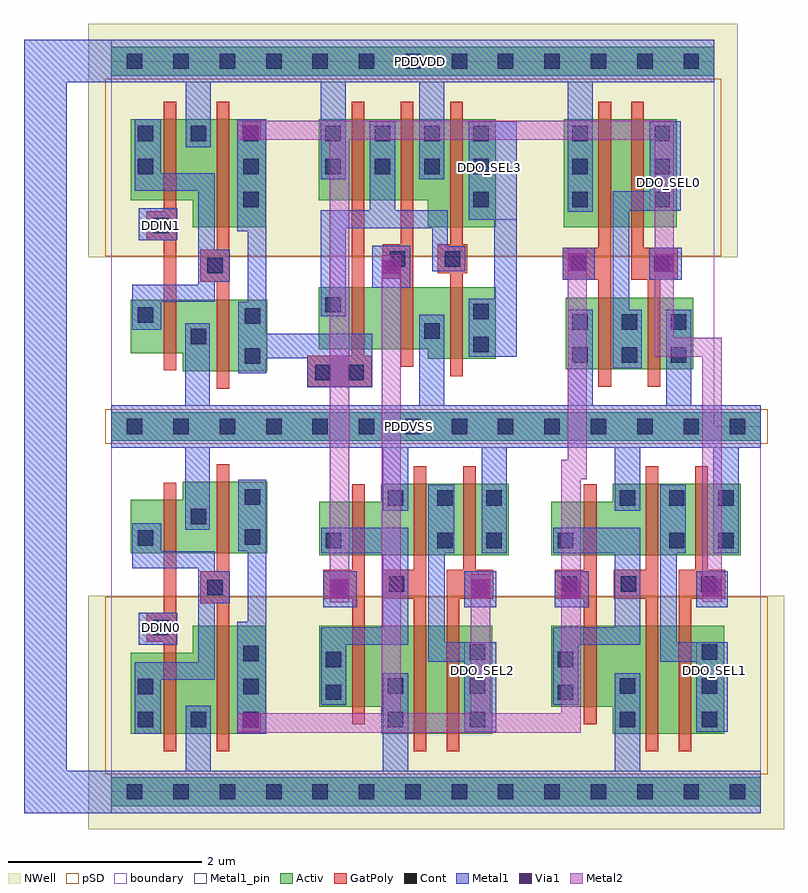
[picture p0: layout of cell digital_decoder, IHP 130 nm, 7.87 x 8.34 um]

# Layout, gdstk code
from math import pi, radians
import gdstk
lib = gdstk.Library(unit=1e-6, precision=5e-09)
def R(c, l, rs):  # rectangles x0, y0, x1, y1
    for r in rs: c.add(gdstk.rectangle(r[:2], r[2:], *l))
def A(c, l, x, y, w, h, nx, ny, dx, dy):  # array of equal rectangles
    R(c, l, [(x+i*dx, y+j*dy, x+i*dx+w, y+j*dy+h) for i in range(nx) for j in range(ny)])
def P(c, l, *ps):  # polygons
    for p in ps: c.add(gdstk.Polygon(p, *l))
Activ = (1, 0)
GatPoly = (5, 0)
Cont = (6, 0)
Metal1 = (8, 0)
Metal1_pin = (8, 2)
Metal2 = (10, 0)
pSD = (14, 0)
Via1 = (19, 0)
NWell = (31, 0)
boundary = (189, 4)

via_stack_1 = lib.new_cell('via_stack$1')
R(via_stack_1, Metal1, [(-0.145,-0.105,0.145,0.105)])
R(via_stack_1, Metal2, [(-0.145,-0.1,0.145,0.1)])
R(via_stack_1, Via1, [(-0.095,-0.095,0.095,0.095)])

digital_decoder = lib.new_cell('digital_decoder')
R(digital_decoder, Activ, [(4.37,3.48,6.29,3.78), (6.29,3.48,8.69,3.78), (8.69,3.48,11.09,3.78), (4.37,7.26,6.29,7.56), (4.37,7.26,6.29,7.56), (6.29,7.26,8.69,7.56), (6.29,7.26,8.69,7.56), (8.69,7.26,10.61,7.56), (8.69,7.26,11.09,7.56), (9.07,8,10.39,8.74), (9.05,9.47,10.22,10.59), (4.37,11.04,6.29,11.34), (6.29,11.04,8.69,11.34), (8.69,11.04,10.61,11.34)])
P(digital_decoder, Activ, [(4.57,6.1),(4.57,6.65),(5.11,6.65),(5.11,6.84),(5.98,6.84),(5.98,6.1)],
  [(4.57,4.23),(4.57,5.07),(5.21,5.07),(5.21,5.35),(5.965,5.35),(5.965,4.23)],
  [(6.52,6.08),(6.52,6.63),(7.16,6.63),(7.16,6.82),(8.48,6.82),(8.48,6.08)],
  [(7.16,4.23),(7.16,4.51),(6.52,4.51),(6.52,5.35),(8.31,5.35),(8.31,4.23)],
  [(8.92,6.08),(8.92,6.63),(9.56,6.63),(9.56,6.82),(10.88,6.82),(10.88,6.08)],
  [(9.56,4.23),(9.56,4.51),(8.92,4.51),(8.92,5.35),(10.71,5.35),(10.71,4.23)],
  [(7.645,8.11),(7.645,8.21),(6.515,8.21),(6.515,8.85),(8.345,8.85),(8.345,8.11)],
  [(7.645,9.47),(7.645,9.75),(6.515,9.75),(6.515,10.59),(8.345,10.59),(8.345,9.47)],
  [(5.11,7.98),(5.11,8.17),(4.57,8.17),(4.57,8.72),(5.98,8.72),(5.98,7.98)],
  [(5.21,9.47),(5.21,9.75),(4.57,9.75),(4.57,10.59),(5.965,10.59),(5.965,9.47)])
P(digital_decoder, GatPoly, [(5.46,4.05),(5.46,5.58),(5.29,5.58),(5.29,5.91),(5.46,5.91),(5.46,7.02),(5.59,7.02),(5.59,4.05)],
  [(4.91,4.05),(4.91,5.18),(4.735,5.18),(4.735,5.48),(4.91,5.48),(4.91,6.83),(5.04,6.83),(5.04,4.05)],
  [(6.86,4.33),(6.86,5.63),(6.56,5.63),(6.56,5.93),(6.86,5.93),(6.86,6.81),(6.99,6.81),(6.99,4.33)],
  [(7.5,4.05),(7.5,5.63),(7.17,5.63),(7.17,5.93),(7.5,5.93),(7.5,7),(7.63,7),(7.63,4.05)],
  [(7.84,4.05),(7.84,5.93),(8.01,5.93),(8.01,7),(8.14,7),(8.14,5.93),(8.32,5.93),(8.32,5.63),(7.97,5.63),(7.97,4.05)],
  [(9.26,4.33),(9.26,5.63),(8.96,5.63),(8.96,5.93),(9.26,5.93),(9.26,6.81),(9.39,6.81),(9.39,4.33)],
  [(9.9,4.05),(9.9,5.63),(9.57,5.63),(9.57,5.93),(9.9,5.93),(9.9,7),(10.03,7),(10.03,4.05)],
  [(10.24,4.05),(10.24,5.93),(10.41,5.93),(10.41,7),(10.54,7),(10.54,5.93),(10.72,5.93),(10.72,5.63),(10.37,5.63),(10.37,4.05)],
  [(9.92,7.82),(9.92,8.93),(9.75,8.93),(9.75,10.77),(9.88,10.77),(9.88,9.26),(10.23,9.26),(10.23,8.93),(10.05,8.93),(10.05,7.82)],
  [(9.41,7.82),(9.41,8.93),(9.04,8.93),(9.04,9.26),(9.41,9.26),(9.41,10.77),(9.54,10.77),(9.54,7.82)],
  [(7.875,7.93),(7.875,8.995),(7.745,8.995),(7.745,9.295),(7.875,9.295),(7.875,10.77),(8.005,10.77),(8.005,9.295),(8.05,9.295),(8.05,8.995),(8.005,8.995),(8.005,7.93)],
  [(6.395,7.82),(6.395,8.14),(6.855,8.14),(6.855,10.77),(6.985,10.77),(6.985,8.14),(7.065,8.14),(7.065,7.82)],
  [(7.365,8.03),(7.365,8.995),(7.18,8.995),(7.18,9.295),(7.365,9.295),(7.365,10.77),(7.495,10.77),(7.495,8.03)],
  [(5.46,7.8),(5.46,8.91),(5.29,8.91),(5.29,9.24),(5.46,9.24),(5.46,10.77),(5.59,10.77),(5.59,7.8)],
  [(4.91,7.99),(4.91,9.34),(4.735,9.34),(4.735,9.64),(4.91,9.64),(4.91,10.77),(5.04,10.77),(5.04,7.99)])
A(digital_decoder, Cont, 4.53, 3.55, 0.16, 0.16, 14, 1, 0.48, 0)
A(digital_decoder, Cont, 5.735, 4.3, 0.16, 0.16, 1, 3, 0, 0.34)
A(digital_decoder, Cont, 7.23, 6.59, 0.16, 0.16, 3, 1, 0.51, 0)
A(digital_decoder, Cont, 9.63, 6.59, 0.16, 0.16, 3, 1, 0.51, 0)
A(digital_decoder, Cont, 9.14, 8.07, 0.16, 0.16, 3, 2, 0.51, 0.34)
A(digital_decoder, Cont, 5.735, 9.68, 0.16, 0.16, 1, 3, 0, 0.34)
A(digital_decoder, Cont, 9.14, 9.68, 0.16, 0.16, 1, 3, 0, 0.34)
A(digital_decoder, Cont, 9.99, 9.68, 0.16, 0.16, 1, 3, 0, 0.34)
A(digital_decoder, Cont, 6.585, 10.02, 0.16, 0.16, 4, 2, 0.51, 0.34)
A(digital_decoder, Cont, 4.53, 11.11, 0.16, 0.16, 5, 1, 0.48, 0)
R(digital_decoder, Cont, [(4.64,4.3,4.8,4.46), (5.19,4.3,5.35,4.46), (7.23,4.3,7.39,4.46), (8.08,4.3,8.24,4.46), (9.63,4.3,9.79,4.46), (10.48,4.3,10.64,4.46), (6.59,4.58,6.75,4.74), (8.99,4.58,9.15,4.74), (4.64,4.64,4.8,4.8), (7.23,4.645,7.39,4.805), (8.08,4.645,8.24,4.805), (9.63,4.645,9.79,4.805), (10.48,4.645,10.64,4.805), (6.59,4.92,6.75,5.08), (8.99,4.92,9.15,5.08), (8.08,4.995,8.24,5.155), (10.48,4.995,10.64,5.155), (4.805,5.25,4.965,5.41), (5.36,5.665,5.52,5.825), (7.24,5.7,7.4,5.86), (9.03,5.7,9.19,5.86), (9.64,5.7,9.8,5.86), (10.475,5.7,10.635,5.86), (6.59,6.15,6.75,6.31), (7.74,6.15,7.9,6.31), (8.25,6.15,8.41,6.31), (8.99,6.15,9.15,6.31), (10.14,6.15,10.3,6.31), (10.65,6.15,10.81,6.31), (4.64,6.175,4.8,6.335), (5.75,6.185,5.91,6.345), (5.19,6.4,5.35,6.56), (5.75,6.6,5.91,6.76), (4.53,7.33,4.69,7.49), (4.53,7.33,4.69,7.49), (5.01,7.33,5.17,7.49), (5.01,7.33,5.17,7.49), (5.49,7.33,5.65,7.49), (5.49,7.33,5.65,7.49), (5.97,7.33,6.13,7.49), (5.97,7.33,6.13,7.49), (6.45,7.33,6.61,7.49), (6.45,7.33,6.61,7.49), (6.93,7.33,7.09,7.49), (6.93,7.33,7.09,7.49), (7.41,7.33,7.57,7.49), (7.41,7.33,7.57,7.49), (7.89,7.33,8.05,7.49), (7.89,7.33,8.05,7.49), (8.37,7.33,8.53,7.49), (8.37,7.33,8.53,7.49), (8.85,7.33,9.01,7.49), (8.85,7.33,9.01,7.49), (8.85,7.33,9.01,7.49), (9.33,7.33,9.49,7.49), (9.33,7.33,9.49,7.49), (9.33,7.33,9.49,7.49), (9.81,7.33,9.97,7.49), (9.81,7.33,9.97,7.49), (9.81,7.33,9.97,7.49), (10.29,7.33,10.45,7.49), (10.29,7.33,10.45,7.49), (10.29,7.33,10.45,7.49), (10.77,7.33,10.93,7.49), (6.48,7.89,6.64,8.05), (6.82,7.89,6.98,8.05), (5.75,8.06,5.91,8.22), (8.115,8.18,8.275,8.34), (5.19,8.26,5.35,8.42), (7.605,8.32,7.765,8.48), (5.75,8.475,5.91,8.635), (4.64,8.485,4.8,8.645), (8.115,8.52,8.275,8.68), (6.585,8.59,6.745,8.75), (5.36,8.995,5.52,9.155), (9.125,9.015,9.285,9.175), (9.985,9.015,10.145,9.175), (7.25,9.065,7.41,9.225), (7.82,9.065,7.98,9.225), (4.805,9.41,4.965,9.57), (8.115,9.68,8.275,9.84), (4.64,10.02,4.8,10.18), (4.64,10.36,4.8,10.52), (5.19,10.36,5.35,10.52), (6.45,11.11,6.61,11.27), (6.45,11.11,6.61,11.27), (6.93,11.11,7.09,11.27), (6.93,11.11,7.09,11.27), (7.41,11.11,7.57,11.27), (7.41,11.11,7.57,11.27), (7.89,11.11,8.05,11.27), (7.89,11.11,8.05,11.27), (8.37,11.11,8.53,11.27), (8.37,11.11,8.53,11.27), (8.85,11.11,9.01,11.27), (8.85,11.11,9.01,11.27), (9.33,11.11,9.49,11.27), (9.33,11.11,9.49,11.27), (9.81,11.11,9.97,11.27), (9.81,11.11,9.97,11.27), (10.29,11.11,10.45,11.27), (10.29,11.11,10.45,11.27)])
R(digital_decoder, Metal1, [(4.655,5.15,5.05,5.48), (6.56,5.54,6.91,5.91), (8.02,5.54,8.35,5.91), (8.96,5.54,9.31,5.91), (10.42,5.54,10.75,5.91), (6.395,7.815,7.07,8.37), (5.97,8.115,6.395,8.37), (7.07,8.845,7.46,9.28), (9.04,8.93,9.37,9.26), (9.935,8.93,10.27,9.26), (4.655,9.34,5.05,9.67)])
P(digital_decoder, Metal1, [(4.61,4.23),(4.61,4.97),(5.27,4.97),(5.27,5.945),(4.585,5.945),(4.585,6.41),(4.885,6.41),(4.885,6.12),(5.44,6.12),(5.44,5.91),(5.595,5.91),(5.595,5.58),(5.44,5.58),(5.44,4.79),(4.88,4.79),(4.88,4.23)],
  [(5.67,4.23),(5.67,5.39),(5.78,5.39),(5.78,6.12),(5.68,6.12),(5.68,6.86),(5.97,6.86),(5.97,4.23)],
  [(5.135,6.34),(5.135,7.19),(4.37,7.19),(4.37,7.63),(6.29,7.63),(6.29,7.19),(5.385,7.19),(5.385,6.34)],
  [(4.37,3.41),(4.37,3.85),(5.14,3.85),(5.14,4.52),(5.4,4.52),(5.4,3.85),(6.29,3.85),(6.29,3.41)],
  [(8.02,4.25),(8.02,4.975),(7.65,4.975),(7.65,6.805),(7.915,6.805),(7.915,6.1),(7.82,6.1),(7.82,5.175),(8.35,5.175),(8.35,4.25)],
  [(6.54,4.53),(6.54,5.33),(7.18,5.33),(7.18,6.1),(6.54,6.1),(6.54,6.36),(7.44,6.36),(7.44,5.15),(6.8,5.15),(6.8,4.53)],
  [(8.2,6.1),(8.2,7.19),(7.44,7.19),(7.44,6.54),(7.18,6.54),(7.18,7.19),(6.29,7.19),(6.29,7.63),(8.69,7.63),(8.69,7.19),(8.46,7.19),(8.46,6.1)],
  [(6.29,3.41),(6.29,3.85),(7.18,3.85),(7.18,4.855),(7.44,4.855),(7.44,3.85),(8.69,3.85),(8.69,3.41)],
  [(10.42,4.25),(10.42,4.975),(10.05,4.975),(10.05,6.805),(10.315,6.805),(10.315,6.1),(10.22,6.1),(10.22,5.175),(10.75,5.175),(10.75,4.25)],
  [(8.94,4.53),(8.94,5.33),(9.58,5.33),(9.58,6.1),(8.94,6.1),(8.94,6.36),(9.84,6.36),(9.84,5.15),(9.2,5.15),(9.2,4.53)],
  [(10.6,6.1),(10.6,7.19),(9.84,7.19),(9.84,6.54),(9.58,6.54),(9.58,7.19),(8.69,7.19),(8.69,7.63),(11.09,7.63),(11.09,7.19),(10.86,7.19),(10.86,6.1)],
  [(8.69,3.41),(8.69,3.85),(9.58,3.85),(9.58,4.855),(9.84,4.855),(9.84,3.85),(11.09,3.85),(11.09,3.41)],
  [(9.56,8.015),(9.56,9.845),(9.94,9.845),(9.94,10.57),(10.26,10.57),(10.26,9.645),(9.73,9.645),(9.73,8.62),(9.86,8.62),(9.86,8.015)],
  [(9.09,9.63),(9.09,10.97),(8.69,10.97),(8.69,11.41),(10.61,11.41),(10.61,10.97),(9.35,10.97),(9.35,9.63)],
  [(8.69,7.19),(8.69,7.63),(9.09,7.63),(9.09,8.62),(9.35,8.62),(9.35,7.63),(10.11,7.63),(10.11,8.62),(10.37,8.62),(10.37,7.63),(10.61,7.63),(10.61,7.19)],
  [(6.535,8.55),(6.535,9.65),(7.045,9.65),(7.045,10.57),(7.305,10.57),(7.305,9.65),(7.85,9.65),(7.85,9.275),(8.03,9.275),(8.03,9.015),(7.69,9.015),(7.69,9.46),(6.795,9.46),(6.795,8.55)],
  [(8.065,8.13),(8.065,8.73),(8.33,8.73),(8.33,9.55),(8.065,9.55),(8.065,10.57),(8.565,10.57),(8.565,8.13)],
  [(6.535,9.97),(6.535,10.97),(6.29,10.97),(6.29,11.41),(8.69,11.41),(8.69,10.97),(7.815,10.97),(7.815,9.97),(7.555,9.97),(7.555,10.97),(6.795,10.97),(6.795,9.97)],
  [(6.29,7.19),(6.29,7.63),(7.555,7.63),(7.555,8.565),(7.815,8.565),(7.815,7.63),(8.69,7.63),(8.69,7.19)],
  [(4.585,8.41),(4.585,8.875),(5.27,8.875),(5.27,9.85),(4.61,9.85),(4.61,10.59),(4.88,10.59),(4.88,10.03),(5.44,10.03),(5.44,9.24),(5.595,9.24),(5.595,8.91),(5.44,8.91),(5.44,8.7),(4.885,8.7),(4.885,8.41)],
  [(5.68,7.96),(5.68,8.7),(5.78,8.7),(5.78,9.43),(5.67,9.43),(5.67,10.59),(5.97,10.59),(5.97,7.96)],
  [(4.37,7.19),(4.37,7.63),(5.135,7.63),(5.135,8.48),(5.385,8.48),(5.385,7.63),(6.29,7.63),(6.29,7.19)],
  [(5.14,10.3),(5.14,10.97),(4.37,10.97),(4.37,11.41),(6.29,11.41),(6.29,10.97),(5.4,10.97),(5.4,10.3)])
R(digital_decoder, Metal1_pin, [(4.37,3.41,6.29,3.85), (6.29,3.41,8.69,3.85), (8.69,3.41,11.09,3.85), (8.02,4.25,8.35,5.175), (10.42,4.25,10.75,5.175), (4.655,5.15,5.05,5.48), (4.37,7.19,6.29,7.63), (4.37,7.19,6.29,7.63), (6.29,7.19,8.69,7.63), (6.29,7.19,8.69,7.63), (8.69,7.19,10.61,7.63), (8.69,7.19,11.09,7.63), (4.655,9.34,5.05,9.67), (8.065,9.55,8.565,10.57), (9.94,9.645,10.26,10.57), (4.37,10.97,6.29,11.41), (6.29,10.97,8.69,11.41), (8.69,10.97,10.61,11.41)])
R(digital_decoder, pSD, [(4.305,3.81,6.36,5.65), (6.19,3.81,8.76,5.65), (8.59,3.81,11.16,5.65), (4.305,7.23,6.36,7.59), (4.305,7.23,6.36,7.59), (6.22,7.23,8.76,7.59), (6.22,7.23,8.76,7.59), (8.62,7.23,11.16,7.59), (8.62,7.23,10.68,7.59), (4.305,9.17,6.36,11.01), (6.22,9.17,6.84,11.01), (6.22,9.17,8.76,11.01), (8.62,9.17,10.68,11.01)])
R(digital_decoder, NWell, [(4.13,3.24,6.53,5.66), (6.02,3.24,8.93,5.66), (8.42,3.24,11.33,5.66), (4.13,9.16,6.53,11.58), (6.05,9.16,8.93,11.58), (8.45,9.16,10.85,11.58)])
R(digital_decoder, boundary, [(4.37,3.63,6.29,7.41), (6.29,3.63,8.69,7.41), (8.69,3.63,11.09,7.41), (4.37,7.41,6.29,11.19), (6.29,7.41,8.69,11.19), (8.69,7.41,10.61,11.19)])
digital_decoder.add(gdstk.FlexPath([(4.37,11.19),(3.685,11.19),(3.685,3.63),(4.37,3.63)], 0.44, ends="flush", simple_path=True, layer=8, datatype=0))  # Metal1
digital_decoder.add(gdstk.FlexPath([(5.965,4.34),(8.19,4.34),(8.19,5.59)], 0.2, ends="flush", simple_path=True, layer=10, datatype=0))  # Metal2
digital_decoder.add(gdstk.FlexPath([(9.125,5.585),(9.125,4.34),(8.19,4.34)], 0.2, ends="flush", simple_path=True, layer=10, datatype=0))  # Metal2
digital_decoder.add(gdstk.FlexPath([(5.965,10.475),(10.09,10.475),(10.09,8.23),(10.585,8.23),(10.585,5.885)], 0.2, ends="flush", simple_path=True, layer=10, datatype=0))  # Metal2
digital_decoder.add(gdstk.FlexPath([(6.73,5.88),(6.73,10.475)], 0.2, ends="flush", simple_path=True, layer=10, datatype=0))  # Metal2
digital_decoder.add(gdstk.FlexPath([(7.265,8.89),(7.265,4.44)], 0.2, ends="flush", simple_path=True, layer=10, datatype=0))  # Metal2
digital_decoder.add(gdstk.FlexPath([(9.125,5.875),(9.125,6.965),(9.19,6.965),(9.19,8.965)], 0.2, ends="flush", simple_path=True, layer=10, datatype=0))  # Metal2
digital_decoder.add(gdstk.Reference(via_stack_1, (5.82,4.34)))
digital_decoder.add(gdstk.Reference(via_stack_1, (9.125,5.73), rotation=3*pi/2))
digital_decoder.add(gdstk.Reference(via_stack_1, (6.73,5.735), rotation=3*pi/2))
digital_decoder.add(gdstk.Reference(via_stack_1, (8.19,5.735), rotation=3*pi/2))
digital_decoder.add(gdstk.Reference(via_stack_1, (7.265,9.035), rotation=3*pi/2))
digital_decoder.add(gdstk.Reference(via_stack_1, (9.19,9.11), rotation=3*pi/2))
digital_decoder.add(gdstk.Reference(via_stack_1, (10.09,9.105), rotation=3*pi/2))
digital_decoder.add(gdstk.Reference(via_stack_1, (5.82,10.475)))
digital_decoder.add(gdstk.Reference(via_stack_1, (10.585,5.74), rotation=3*pi/2))
digital_decoder.add(gdstk.Label('PDDVDD', (7.57,11.19), layer=8, texttype=25))
digital_decoder.add(gdstk.Label('PDDVSS', (7.45,7.41), layer=8, texttype=25))
digital_decoder.add(gdstk.Label('DDIN1', (4.885,9.49), layer=8, texttype=25))
digital_decoder.add(gdstk.Label('DDIN0', (4.885,5.33), layer=8, texttype=25))
digital_decoder.add(gdstk.Label('DDO_SEL3', (8.285,10.09), layer=8, texttype=25))
digital_decoder.add(gdstk.Label('DDO_SEL2', (8.21,4.89), layer=8, texttype=25))
digital_decoder.add(gdstk.Label('DDO_SEL1', (10.61,4.89), layer=8, texttype=25))
digital_decoder.add(gdstk.Label('DDO_SEL0', (10.13,9.93), layer=8, texttype=25))

lib.write_gds('digital_decoder.gds')
